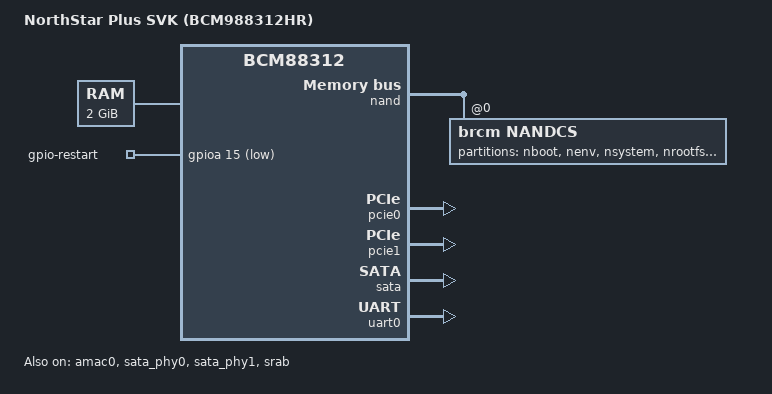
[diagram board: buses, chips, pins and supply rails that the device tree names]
/*
 *  BSD LICENSE
 *
 *  Copyright(c) 2016 Broadcom.  All rights reserved.
 *
 *  Redistribution and use in source and binary forms, with or without
 *  modification, are permitted provided that the following conditions
 *  are met:
 *
 *    * Redistributions of source code must retain the above copyright
 *      notice, this list of conditions and the following disclaimer.
 *    * Redistributions in binary form must reproduce the above copyright
 *      notice, this list of conditions and the following disclaimer in
 *      the documentation and/or other materials provided with the
 *      distribution.
 *    * Neither the name of Broadcom Corporation nor the names of its
 *      contributors may be used to endorse or promote products derived
 *      from this software without specific prior written permission.
 *
 *  THIS SOFTWARE IS PROVIDED BY THE COPYRIGHT HOLDERS AND CONTRIBUTORS
 *  "AS IS" AND ANY EXPRESS OR IMPLIED WARRANTIES, INCLUDING, BUT NOT
 *  LIMITED TO, THE IMPLIED WARRANTIES OF MERCHANTABILITY AND FITNESS FOR
 *  A PARTICULAR PURPOSE ARE DISCLAIMED. IN NO EVENT SHALL THE COPYRIGHT
 *  OWNER OR CONTRIBUTORS BE LIABLE FOR ANY DIRECT, INDIRECT, INCIDENTAL,
 *  SPECIAL, EXEMPLARY, OR CONSEQUENTIAL DAMAGES (INCLUDING, BUT NOT
 *  LIMITED TO, PROCUREMENT OF SUBSTITUTE GOODS OR SERVICES; LOSS OF USE,
 *  DATA, OR PROFITS; OR BUSINESS INTERRUPTION) HOWEVER CAUSED AND ON ANY
 *  THEORY OF LIABILITY, WHETHER IN CONTRACT, STRICT LIABILITY, OR TORT
 *  (INCLUDING NEGLIGENCE OR OTHERWISE) ARISING IN ANY WAY OUT OF THE USE
 *  OF THIS SOFTWARE, EVEN IF ADVISED OF THE POSSIBILITY OF SUCH DAMAGE.
 */

/dts-v1/;

#include "bcm-nsp.dtsi"
#include <dt-bindings/gpio/gpio.h>

/ {
	model = "NorthStar Plus SVK (BCM988312HR)";
	compatible = "brcm,bcm88312", "brcm,nsp";

	aliases {
		serial0 = &uart0;
	};

	chosen {
		stdout-path = "serial0:115200n8";
	};

	memory {
		device_type = "memory";
		reg = <0x60000000 0x80000000>;
	};

	gpio-restart {
		compatible = "gpio-restart";
		gpios = <&gpioa 15 GPIO_ACTIVE_LOW>;
		priority = <200>;
	};
};

/* USB 2/3 support needed to be complete */

&amac0 {
	status = "okay";
};

&nand {
	nandcs@0 {
		compatible = "brcm,nandcs";
		reg = <0>;
		nand-on-flash-bbt;

		#address-cells = <1>;
		#size-cells = <1>;

		nand-ecc-strength = <24>;
		nand-ecc-step-size = <1024>;

		brcm,nand-oob-sector-size = <27>;

		partition@0 {
			label = "nboot";
			reg = <0x00000000 0x00200000>;
			read-only;
		};
		partition@200000 {
			label = "nenv";
			reg = <0x00200000 0x00400000>;
		};
		partition@600000 {
			label = "nsystem";
			reg = <0x00600000 0x00a00000>;
		};
		partition@1000000 {
			label = "nrootfs";
			reg = <0x01000000 0x03000000>;
		};
		partition@4000000 {
			label = "ncustfs";
			reg = <0x04000000 0x3c000000>;
		};
	};
};

&pcie0 {
	status = "okay";
};

&pcie1 {
	status = "okay";
};

&pinctrl {
	pinctrl-names = "default";
	pinctrl-0 = <&nand_sel>;
	nand_sel: nand_sel {
		function = "nand";
		groups = "nand_grp";
	};
};

&sata_phy0 {
	status = "okay";
};

&sata_phy1 {
	status = "okay";
};

&sata {
	status = "okay";
};

&srab {
	compatible = "brcm,bcm88312-srab", "brcm,nsp-srab";
	status = "okay";

	ports {
		#address-cells = <1>;
		#size-cells = <0>;

		port@0 {
			label = "port0";
			reg = <0>;
		};

		port@1 {
			label = "port1";
			reg = <1>;
		};

		port@2 {
			label = "port2";
			reg = <2>;
		};

		port@3 {
			label = "port3";
			reg = <3>;
		};

		port@4 {
			label = "port4";
			reg = <4>;
		};

		port@5 {
			ethernet = <&amac0>;
			label = "cpu";
			reg = <5>;
			fixed-link {
				speed = <1000>;
				full-duplex;
			};
		};
	};
};

&uart0 {
	status = "okay";
};
